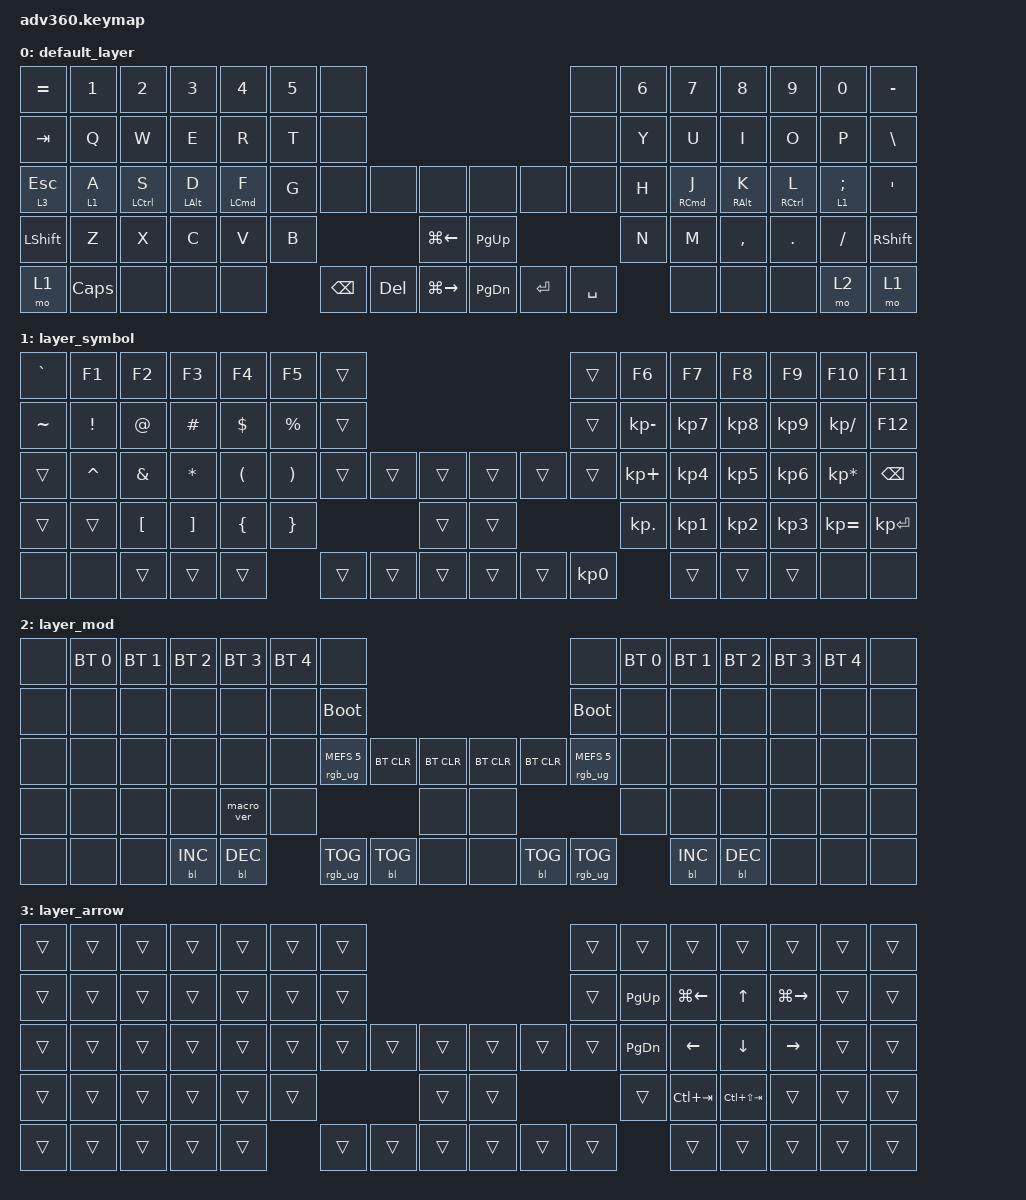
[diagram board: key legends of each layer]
/*
 * Copyright (c) 2020 The ZMK Contributors
 *
 * SPDX-License-Identifier: MIT
 */
/* THIS FILE WAS GENERATED!
 *
 * This file was generated automatically. You may or may not want to
 * edit it directly.
 */

#include <behaviors.dtsi>
#include <dt-bindings/zmk/backlight.h>
#include <dt-bindings/zmk/bt.h>
#include <dt-bindings/zmk/keys.h>
#include <dt-bindings/zmk/rgb.h>

&lt { tapping-term-ms = <150>; };

/ {
    behaviors {
        #include "macros.dtsi"
    #include "version.dtsi"

        hm: homerow_mods {
            compatible = "zmk,behavior-hold-tap";
            label = "HOMEROW_MODS";
            #binding-cells = <2>;
            tapping-term-ms = <200>;
            quick_tap_ms = <200>;
            flavor = "tap-preferred";
            bindings = <&kp>, <&kp>;
        };
    };

    combos {
        compatible = "zmk,combos";

        Cut {
            bindings = <&kp LG(X)>;
            key-positions = <47 48>;
        };

        Copy {
            bindings = <&kp LG(C)>;
            key-positions = <47 49>;
        };

        Paste {
            bindings = <&kp LG(V)>;
            key-positions = <47 50>;
        };

        Refresh {
            bindings = <&kp LG(R)>;
            key-positions = <15 18>;
        };

        NewTab {
            bindings = <&kp LG(T)>;
            key-positions = <15 19>;
        };

        Bold {
            bindings = <&kp LG(B)>;
            key-positions = <47 51>;
        };

        Find {
            bindings = <&kp LG(F)>;
            key-positions = <29 32>;
        };
    };

    keymap {
        compatible = "zmk,keymap";

        default_layer {
            bindings = <
&kp EQUAL  &kp N1    &kp N2       &kp N3      &kp N4      &kp N5  &none                                                       &none      &kp N6  &kp N7      &kp N8      &kp N9       &kp N0      &kp MINUS
&kp TAB    &kp Q     &kp W        &kp E       &kp R       &kp T   &none                                                       &none      &kp Y   &kp U       &kp I       &kp O        &kp P       &kp BSLH
&lt 3 ESC  &lt 1 A   &hm LCTRL S  &hm LALT D  &hm LCMD F  &kp G   &none     &none    &none              &none      &none      &none      &kp H   &hm RCMD J  &hm RALT K  &hm RCTRL L  &lt 1 SEMI  &kp SQT
&kp LSHFT  &kp Z     &kp X        &kp C       &kp V       &kp B                      &kp LG(LEFT)       &kp PG_UP                        &kp N   &kp M       &kp COMMA   &kp DOT      &kp FSLH    &kp RSHFT
&mo 1      &kp CAPS  &none        &none       &none               &kp BSPC  &kp DEL  &kp LG(RIGHT)      &kp PG_DN  &kp ENTER  &kp SPACE          &none       &none       &none        &mo 2       &mo 1
            >;
        };

        layer_symbol {
            bindings = <
&kp GRAVE  &kp F1     &kp F2    &kp F3     &kp F4    &kp F5     &trans                                      &trans     &kp F6        &kp F7     &kp F8     &kp F9     &kp F10          &kp F11
&kp TILDE  &kp EXCL   &kp AT    &kp HASH   &kp DLLR  &kp PRCNT  &trans                                      &trans     &kp KP_MINUS  &kp KP_N7  &kp KP_N8  &kp KP_N9  &kp KP_DIVIDE    &kp F12
&trans     &kp CARET  &kp AMPS  &kp ASTRK  &kp LPAR  &kp RPAR   &trans  &trans  &trans      &trans  &trans  &trans     &kp KP_PLUS   &kp KP_N4  &kp KP_N5  &kp KP_N6  &kp KP_MULTIPLY  &kp BSPC
&trans     &trans     &kp LBKT  &kp RBKT   &kp LBRC  &kp RBRC                   &trans      &trans                     &kp KP_DOT    &kp KP_N1  &kp KP_N2  &kp KP_N3  &kp KP_EQUAL     &kp KP_ENTER
&none      &none      &trans    &trans     &trans               &trans  &trans  &trans      &trans  &trans  &kp KP_N0                &trans     &trans     &trans     &none            &none
            >;
        };

        layer_mod {
            bindings = <
&none  &bt BT_SEL 0  &bt BT_SEL 1  &bt BT_SEL 2  &bt BT_SEL 3  &bt BT_SEL 4  &none                                                                       &none                   &bt BT_SEL 0  &bt BT_SEL 1  &bt BT_SEL 2  &bt BT_SEL 3  &bt BT_SEL 4  &none
&none  &none         &none         &none         &none         &none         &bootloader                                                                 &bootloader             &none         &none         &none         &none         &none         &none
&none  &none         &none         &none         &none         &none         &rgb_ug RGB_MEFS_CMD 5  &bt BT_CLR  &bt BT_CLR      &bt BT_CLR  &bt BT_CLR  &rgb_ug RGB_MEFS_CMD 5  &none         &none         &none         &none         &none         &none
&none  &none         &none         &none         &macro_ver    &none                                             &none           &none                                           &none         &none         &none         &none         &none         &none
&none  &none         &none         &bl BL_INC    &bl BL_DEC                  &rgb_ug RGB_TOG         &bl BL_TOG  &none           &none       &bl BL_TOG  &rgb_ug RGB_TOG                       &bl BL_INC    &bl BL_DEC    &none         &none         &none
            >;
        };

        layer_arrow {
            bindings = <
&trans  &trans  &trans  &trans  &trans  &trans  &trans                                      &trans  &trans     &trans        &trans           &trans         &trans  &trans
&trans  &trans  &trans  &trans  &trans  &trans  &trans                                      &trans  &kp PG_UP  &kp LG(LEFT)  &kp UP           &kp LG(RIGHT)  &trans  &trans
&trans  &trans  &trans  &trans  &trans  &trans  &trans  &trans  &trans      &trans  &trans  &trans  &kp PG_DN  &kp LEFT      &kp DOWN         &kp RIGHT      &trans  &trans
&trans  &trans  &trans  &trans  &trans  &trans                  &trans      &trans                  &trans     &kp LC(TAB)   &kp LC(LS(TAB))  &trans         &trans  &trans
&trans  &trans  &trans  &trans  &trans          &trans  &trans  &trans      &trans  &trans  &trans             &trans        &trans           &trans         &trans  &trans
            >;
        };
    };
};
